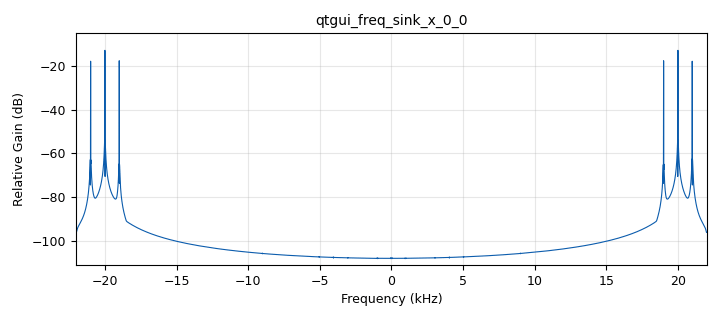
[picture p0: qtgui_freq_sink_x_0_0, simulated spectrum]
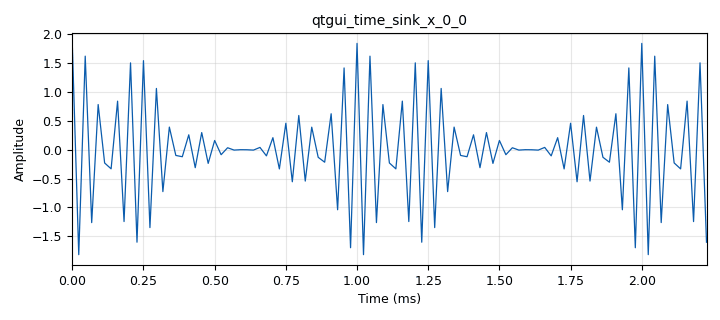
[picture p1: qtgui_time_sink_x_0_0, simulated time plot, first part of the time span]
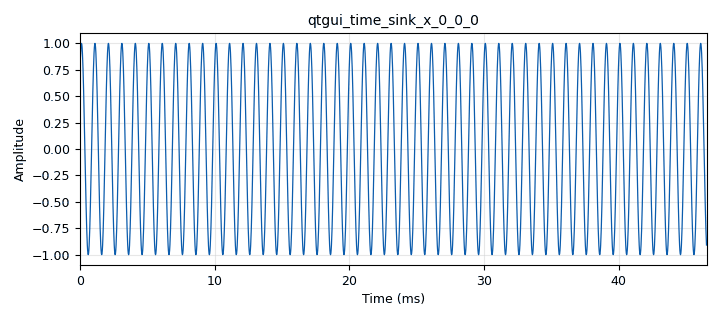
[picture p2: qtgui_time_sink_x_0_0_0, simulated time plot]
<?xml version='1.0' encoding='utf-8'?>
<?grc format='1' created='3.7.10'?>
<flow_graph>
<block>
<key>options</key>
<param><key>id</key><value>top_block</value></param>
<param><key>generate_options</key><value>qt_gui</value></param>
</block>
<block>
<key>variable</key>
<param><key>id</key><value>carrier_frequency</value></param>
<param><key>value</key><value>2e6</value></param>
</block>
<block>
<key>variable_qtgui_range</key>
<param><key>id</key><value>message_frequency</value></param>
<param><key>value</key><value>1e3</value></param>
<param><key>label</key><value>Adjust Frequency</value></param>
<param><key>orient</key><value>Qt.Horizontal</value></param>
<param><key>start</key><value>100</value></param>
<param><key>step</key><value>1000</value></param>
<param><key>stop</key><value>100e3</value></param>
</block>
<block>
<key>variable_slider</key>
<param><key>id</key><value>message_frequency</value></param>
<param><key>converver</key><value>float_converter</value></param>
<param><key>value</key><value>1e3</value></param>
<param><key>_enabled</key><value>0</value></param>
<param><key>label</key><value>Adjust Frequency</value></param>
<param><key>max</key><value>10e3</value></param>
<param><key>min</key><value>100</value></param>
<param><key>num_steps</key><value>100</value></param>
<param><key>style</key><value>wx.SL_HORIZONTAL</value></param>
</block>
<block>
<key>variable_qtgui_range</key>
<param><key>id</key><value>modulation_index</value></param>
<param><key>value</key><value>100</value></param>
<param><key>label</key><value>Adjust Amplitude</value></param>
<param><key>orient</key><value>Qt.Horizontal</value></param>
<param><key>start</key><value>25</value></param>
<param><key>step</key><value>1</value></param>
<param><key>stop</key><value>100</value></param>
<param><key>rangeType</key><value>int</value></param>
</block>
<block>
<key>variable_slider</key>
<param><key>id</key><value>modulation_index</value></param>
<param><key>converver</key><value>int_converter</value></param>
<param><key>value</key><value>100</value></param>
<param><key>_enabled</key><value>0</value></param>
<param><key>label</key><value>Adjust Amplitude </value></param>
<param><key>max</key><value>100</value></param>
<param><key>min</key><value>25</value></param>
<param><key>num_steps</key><value>75</value></param>
<param><key>style</key><value>wx.SL_HORIZONTAL</value></param>
</block>
<block>
<key>variable</key>
<param><key>id</key><value>samp_rate</value></param>
<param><key>value</key><value>44000</value></param>
</block>
<block>
<key>analog_const_source_x</key>
<param><key>id</key><value>analog_const_source_x_0</value></param>
<param><key>const</key><value>1</value></param>
<param><key>type</key><value>float</value></param>
</block>
<block>
<key>analog_sig_source_x</key>
<param><key>id</key><value>analog_sig_source_x_0_0</value></param>
<param><key>amp</key><value>modulation_index*0.01</value></param>
<param><key>freq</key><value>message_frequency</value></param>
<param><key>offset</key><value>0</value></param>
<param><key>type</key><value>float</value></param>
<param><key>samp_rate</key><value>samp_rate</value></param>
<param><key>waveform</key><value>analog.GR_COS_WAVE</value></param>
</block>
<block>
<key>analog_sig_source_x</key>
<param><key>id</key><value>analog_sig_source_x_0_0_1</value></param>
<param><key>amp</key><value>1</value></param>
<param><key>freq</key><value>carrier_frequency</value></param>
<param><key>offset</key><value>0</value></param>
<param><key>type</key><value>float</value></param>
<param><key>samp_rate</key><value>samp_rate</value></param>
<param><key>waveform</key><value>analog.GR_COS_WAVE</value></param>
</block>
<block>
<key>blocks_add_xx</key>
<param><key>id</key><value>blocks_add_xx_0</value></param>
<param><key>type</key><value>float</value></param>
</block>
<block>
<key>blocks_float_to_complex</key>
<param><key>id</key><value>blocks_float_to_complex_0</value></param>
<param><key>_enabled</key><value>0</value></param>
</block>
<block>
<key>blocks_multiply_xx</key>
<param><key>id</key><value>blocks_multiply_xx_0</value></param>
<param><key>type</key><value>float</value></param>
</block>
<block>
<key>blocks_throttle</key>
<param><key>id</key><value>blocks_throttle_0</value></param>
<param><key>samples_per_second</key><value>samp_rate</value></param>
<param><key>type</key><value>float</value></param>
</block>
<block>
<key>blocks_wavfile_sink</key>
<param><key>id</key><value>blocks_wavfile_sink_0</value></param>
<param><key>bits_per_sample</key><value>16</value></param>
<param><key>_enabled</key><value>0</value></param>
<param><key>file</key><value>/Users/Tyson/Documents/Academic/ELEN3024/Labs/Lab3/audio/modulated_signal.wav</value></param>
<param><key>samp_rate</key><value>samp_rate</value></param>
</block>
<block>
<key>qtgui_freq_sink_x</key>
<param><key>id</key><value>qtgui_freq_sink_x_0_0</value></param>
<param><key>autoscale</key><value>True</value></param>
<param><key>average</key><value>0.05</value></param>
<param><key>bw</key><value>samp_rate</value></param>
<param><key>fc</key><value>0</value></param>
<param><key>fftsize</key><value>1024*10</value></param>
<param><key>legend</key><value>False</value></param>
<param><key>showports</key><value>True</value></param>
<param><key>tr_mode</key><value>qtgui.TRIG_MODE_AUTO</value></param>
<param><key>type</key><value>float</value></param>
<param><key>update_time</key><value>1</value></param>
<param><key>wintype</key><value>firdes.WIN_HAMMING</value></param>
</block>
<block>
<key>qtgui_time_sink_x</key>
<param><key>id</key><value>qtgui_time_sink_x_0_0</value></param>
<param><key>autoscale</key><value>True</value></param>
<param><key>legend</key><value>False</value></param>
<param><key>color1</key><value>"blue"</value></param>
<param><key>label1</key><value></value></param>
<param><key>size</key><value>1024*2</value></param>
<param><key>srate</key><value>samp_rate</value></param>
<param><key>tr_level</key><value>100</value></param>
<param><key>type</key><value>float</value></param>
<param><key>update_time</key><value>1</value></param>
</block>
<block>
<key>qtgui_time_sink_x</key>
<param><key>id</key><value>qtgui_time_sink_x_0_0_0</value></param>
<param><key>autoscale</key><value>True</value></param>
<param><key>legend</key><value>False</value></param>
<param><key>color1</key><value>"blue"</value></param>
<param><key>label1</key><value></value></param>
<param><key>size</key><value>1024*2</value></param>
<param><key>srate</key><value>samp_rate</value></param>
<param><key>tr_level</key><value>100</value></param>
<param><key>type</key><value>float</value></param>
<param><key>update_time</key><value>1</value></param>
</block>
<block>
<key>uhd_usrp_sink</key>
<param><key>id</key><value>uhd_usrp_sink_0</value></param>
<param><key>ant0</key><value></value></param>
<param><key>center_freq0</key><value>carrier_frequency</value></param>
<param><key>norm_gain0</key><value>False</value></param>
<param><key>gain0</key><value>0</value></param>
<param><key>clock_rate</key><value>0.0</value></param>
<param><key>dev_args</key><value>""</value></param>
<param><key>_enabled</key><value>0</value></param>
<param><key>type</key><value>fc32</value></param>
<param><key>samp_rate</key><value>samp_rate</value></param>
<param><key>hide_cmd_port</key><value>False</value></param>
<param><key>hide_lo_controls</key><value>True</value></param>
<param><key>sync</key><value></value></param>
<param><key>len_tag_name</key><value></value></param>
</block>
<block>
<key>wxgui_fftsink2</key>
<param><key>id</key><value>wxgui_fftsink2_0</value></param>
<param><key>avg_alpha</key><value>0</value></param>
<param><key>average</key><value>False</value></param>
<param><key>baseband_freq</key><value>0</value></param>
<param><key>_enabled</key><value>0</value></param>
<param><key>fft_size</key><value>1024</value></param>
<param><key>freqvar</key><value>None</value></param>
<param><key>peak_hold</key><value>False</value></param>
<param><key>ref_level</key><value>0</value></param>
<param><key>ref_scale</key><value>2.0</value></param>
<param><key>fft_rate</key><value>15</value></param>
<param><key>samp_rate</key><value>samp_rate</value></param>
<param><key>title</key><value>FFT Plot</value></param>
<param><key>type</key><value>float</value></param>
<param><key>win_size</key><value>1280,512</value></param>
<param><key>win</key><value>None</value></param>
<param><key>y_divs</key><value>10</value></param>
<param><key>y_per_div</key><value>20</value></param>
</block>
<block>
<key>wxgui_scopesink2</key>
<param><key>id</key><value>wxgui_scopesink2_0</value></param>
<param><key>ac_couple</key><value>False</value></param>
<param><key>_enabled</key><value>0</value></param>
<param><key>num_inputs</key><value>1</value></param>
<param><key>samp_rate</key><value>samp_rate</value></param>
<param><key>t_scale</key><value>500e-6</value></param>
<param><key>title</key><value>Scope Plot</value></param>
<param><key>trig_mode</key><value>wxgui.TRIG_MODE_AUTO</value></param>
<param><key>type</key><value>float</value></param>
<param><key>v_offset</key><value>0</value></param>
<param><key>v_scale</key><value>0</value></param>
<param><key>win_size</key><value>1280,512</value></param>
<param><key>xy_mode</key><value>False</value></param>
<param><key>y_axis_label</key><value>Counts</value></param>
</block>
<connection><source_block_id>analog_const_source_x_0</source_block_id><sink_block_id>blocks_add_xx_0</sink_block_id><source_key>0</source_key><sink_key>1</sink_key></connection>
<connection><source_block_id>analog_sig_source_x_0_0</source_block_id><sink_block_id>blocks_add_xx_0</sink_block_id><source_key>0</source_key><sink_key>0</sink_key></connection>
<connection><source_block_id>analog_sig_source_x_0_0</source_block_id><sink_block_id>qtgui_time_sink_x_0_0_0</sink_block_id><source_key>0</source_key><sink_key>0</sink_key></connection>
<connection><source_block_id>analog_sig_source_x_0_0_1</source_block_id><sink_block_id>blocks_multiply_xx_0</sink_block_id><source_key>0</source_key><sink_key>1</sink_key></connection>
<connection><source_block_id>blocks_add_xx_0</source_block_id><sink_block_id>blocks_multiply_xx_0</sink_block_id><source_key>0</source_key><sink_key>0</sink_key></connection>
<connection><source_block_id>blocks_float_to_complex_0</source_block_id><sink_block_id>uhd_usrp_sink_0</sink_block_id><source_key>0</source_key><sink_key>0</sink_key></connection>
<connection><source_block_id>blocks_multiply_xx_0</source_block_id><sink_block_id>blocks_float_to_complex_0</sink_block_id><source_key>0</source_key><sink_key>0</sink_key></connection>
<connection><source_block_id>blocks_multiply_xx_0</source_block_id><sink_block_id>blocks_throttle_0</sink_block_id><source_key>0</source_key><sink_key>0</sink_key></connection>
<connection><source_block_id>blocks_throttle_0</source_block_id><sink_block_id>blocks_wavfile_sink_0</sink_block_id><source_key>0</source_key><sink_key>0</sink_key></connection>
<connection><source_block_id>blocks_throttle_0</source_block_id><sink_block_id>qtgui_freq_sink_x_0_0</sink_block_id><source_key>0</source_key><sink_key>0</sink_key></connection>
<connection><source_block_id>blocks_throttle_0</source_block_id><sink_block_id>qtgui_time_sink_x_0_0</sink_block_id><source_key>0</source_key><sink_key>0</sink_key></connection>
<connection><source_block_id>blocks_throttle_0</source_block_id><sink_block_id>wxgui_fftsink2_0</sink_block_id><source_key>0</source_key><sink_key>0</sink_key></connection>
<connection><source_block_id>blocks_throttle_0</source_block_id><sink_block_id>wxgui_scopesink2_0</sink_block_id><source_key>0</source_key><sink_key>0</sink_key></connection>
</flow_graph>
